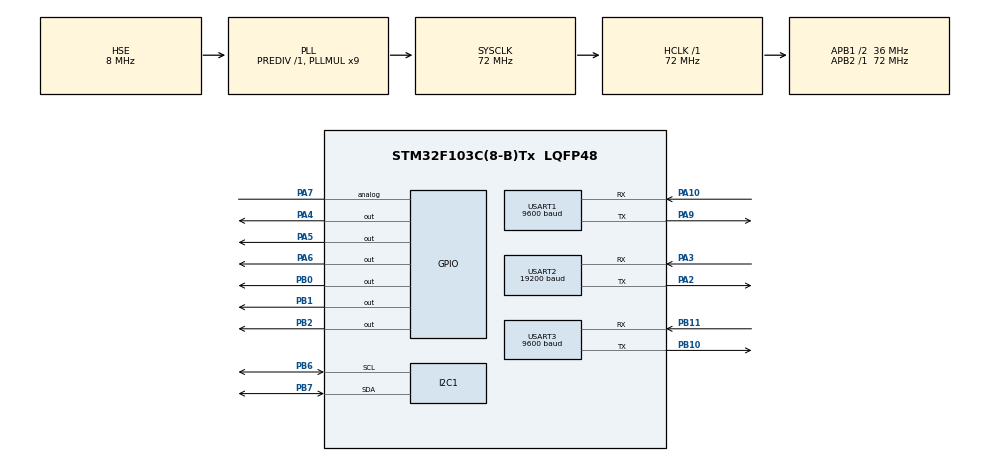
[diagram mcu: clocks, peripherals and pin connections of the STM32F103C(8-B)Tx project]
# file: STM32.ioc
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I2C1.I2C_Mode=I2C_Fast
Mcu.Family=STM32F1
Mcu.Name=STM32F103C(8-B)Tx
Mcu.Package=LQFP48
NVIC.PriorityGroup=NVIC_PRIORITYGROUP_4
NVIC.TIM1_UP_IRQn=true\:1\:0\:true\:false\:true\:true\:true
NVIC.USART1_IRQn=true\:2\:0\:true\:false\:true\:true\:true
NVIC.USART2_IRQn=true\:3\:0\:true\:false\:true\:true\:true
PA10.GPIO_PuPd=GPIO_PULLDOWN
PA10.Mode=Asynchronous
PA10.Signal=USART1_RX
PA13.Mode=Serial_Wire
PA13.Signal=SYS_JTMS-SWDIO
PA14.Mode=Serial_Wire
PA14.Signal=SYS_JTCK-SWCLK
PA2.Mode=Asynchronous
PA2.Signal=USART2_TX
PA3.GPIO_PuPd=GPIO_PULLDOWN
PA3.Mode=Asynchronous
PA3.Signal=USART2_RX
PA4.Signal=GPIO_Output
PA5.Signal=GPIO_Output
PA6.Signal=GPIO_Output
PA7.Signal=GPIO_Analog
PA9.Mode=Asynchronous
PA9.Signal=USART1_TX
PB0.Signal=GPIO_Output
PB1.Signal=GPIO_Output
PB10.Mode=Asynchronous
PB10.Signal=USART3_TX
PB11.GPIO_PuPd=GPIO_PULLDOWN
PB11.Mode=Asynchronous
PB11.Signal=USART3_RX
PB2.Signal=GPIO_Output
PB6.Mode=I2C
PB6.Signal=I2C1_SCL
PB7.Mode=I2C
PB7.Signal=I2C1_SDA
PC14-OSC32_IN.Mode=LSE-External-Oscillator
PC14-OSC32_IN.Signal=RCC_OSC32_IN
PC15-OSC32_OUT.Mode=LSE-External-Oscillator
PC15-OSC32_OUT.Signal=RCC_OSC32_OUT
PD0-OSC_IN.Mode=HSE-External-Oscillator
PD0-OSC_IN.Signal=RCC_OSC_IN
PD1-OSC_OUT.Mode=HSE-External-Oscillator
PD1-OSC_OUT.Signal=RCC_OSC_OUT
ProjectManager.HeapSize=0x200
ProjectManager.StackSize=0x400
ProjectManager.TargetToolchain=MDK-ARM V5.27
RCC.AHBFreq_Value=72000000
RCC.APB1CLKDivider=RCC_HCLK_DIV2
RCC.APB1Freq_Value=36000000
RCC.APB1TimFreq_Value=72000000
RCC.APB2Freq_Value=72000000
RCC.APB2TimFreq_Value=72000000
RCC.HCLKFreq_Value=72000000
RCC.PLLMUL=RCC_PLL_MUL9
RCC.PLLSourceVirtual=RCC_PLLSOURCE_HSE
RCC.SYSCLKFreq_VALUE=72000000
RCC.SYSCLKSource=RCC_SYSCLKSOURCE_PLLCLK
RCC.USBFreq_Value=72000000
TIM1.Period=9999
TIM1.Prescaler=71
USART1.BaudRate=9600
USART1.VirtualMode=VM_ASYNC
USART2.BaudRate=19200
USART2.VirtualMode=VM_ASYNC
USART3.BaudRate=9600
USART3.VirtualMode=VM_ASYNC
VP_TIM1_VS_ClockSourceINT.Mode=Internal
board=custom

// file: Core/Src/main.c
/* USER CODE BEGIN Header */
/**
  ******************************************************************************
  * @file           : main.c
  * @brief          : Main program body
  ******************************************************************************
  * @attention
  *
  * <h2><center>&copy; Copyright (c) 2021 STMicroelectronics.
  * All rights reserved.</center></h2>
  *
  * This software component is licensed by ST under Ultimate Liberty license
  * SLA0044, the "License"; You may not use this file except in compliance with
  * the License. You may obtain a copy of the License at:
  *                             www.st.com/SLA0044
  *
  ******************************************************************************
  */
/* USER CODE END Header */
#include "main.h"
#include "i2c.h"
#include "tim.h"
#include "usart.h"
#include "gpio.h"

/* USER CODE BEGIN PV */

//全局变量
short Degree_Mutex = 1;//角度互斥
float Degree;//横杆角度
short Distance_Mutex = 1;//距离互斥
short Distance;//小球实际距离
short SetDistance_Mutex = 1;//目标距离互斥
short SetDistance;//小球目标距离
char usartScreenSend[50] = {0};//串口屏发送缓冲区
uint8_t usartScreenReceive[10] = {0};//串口屏接收缓冲区
uint8_t usartDistanceReceive[10] = {0};//OpenMV接收缓冲
uint8_t servoID = 1;//舵机ID
uint16_t Position = 0;//目标位置
uint16_t Time = 0;//时间限制

/* USER CODE END PV */

void SystemClock_Config(void);
/* USER CODE BEGIN PFP */
 float yaw, row;
/* USER CODE END PFP */

int main(void)
{

  /* MCU Configuration--------------------------------------------------------*/

  /* Reset of all peripherals, Initializes the Flash interface and the Systick. */
  HAL_Init();

  /* Configure the system clock */
  SystemClock_Config();

  /* Initialize all configured peripherals */
  MX_GPIO_Init();
  MX_I2C1_Init();
  MX_USART1_UART_Init();
  MX_USART2_UART_Init();
  MX_USART3_UART_Init();
  MX_TIM1_Init();
  /* USER CODE BEGIN 2 */
  //mpu_dmp_init();
  HAL_TIM_Base_Start_IT(&htim1);
  HAL_UART_Receive_IT(&huart1, usart1RxBuffer, 1);
  HAL_UART_Receive_IT(&huart2, usart2RxBuffer, 1);
	HAL_Delay(2000);
	int CtlSpeed = 5;
  /* USER CODE END 2 */

  /* Infinite loop */
  /* USER CODE BEGIN WHILE */
	while (1)
	{
//		if(Degree_Mutex){
//		Degree_Mutex = 0;
//		mpu_dmp_get_data(&Degree, &yaw, &row);
//		Degree_Mutex = 1;
//		}
		sendDegree();
//		sendDistance();
		sendSetDistance();
		drawWaves();
		HAL_Delay(CtlSpeed);
		MotorOutput();

    /* USER CODE END WHILE */

	}
}

void SystemClock_Config(void)
{
  RCC_OscInitTypeDef RCC_OscInitStruct = {0};
  RCC_ClkInitTypeDef RCC_ClkInitStruct = {0};

  /** Initializes the RCC Oscillators according to the specified parameters
  * in the RCC_OscInitTypeDef structure.
  */
  RCC_OscInitStruct.OscillatorType = RCC_OSCILLATORTYPE_HSE;
  RCC_OscInitStruct.HSEState = RCC_HSE_ON;
  RCC_OscInitStruct.HSEPredivValue = RCC_HSE_PREDIV_DIV1;
  RCC_OscInitStruct.HSIState = RCC_HSI_ON;
  RCC_OscInitStruct.PLL.PLLState = RCC_PLL_ON;
  RCC_OscInitStruct.PLL.PLLSource = RCC_PLLSOURCE_HSE;
  RCC_OscInitStruct.PLL.PLLMUL = RCC_PLL_MUL9;
  if (HAL_RCC_OscConfig(&RCC_OscInitStruct) != HAL_OK)
  {
    Error_Handler();
  }
  /** Initializes the CPU, AHB and APB buses clocks
  */
  RCC_ClkInitStruct.ClockType = RCC_CLOCKTYPE_HCLK|RCC_CLOCKTYPE_SYSCLK
                              |RCC_CLOCKTYPE_PCLK1|RCC_CLOCKTYPE_PCLK2;
  RCC_ClkInitStruct.SYSCLKSource = RCC_SYSCLKSOURCE_PLLCLK;
  RCC_ClkInitStruct.AHBCLKDivider = RCC_SYSCLK_DIV1;
  RCC_ClkInitStruct.APB1CLKDivider = RCC_HCLK_DIV2;
  RCC_ClkInitStruct.APB2CLKDivider = RCC_HCLK_DIV1;

  if (HAL_RCC_ClockConfig(&RCC_ClkInitStruct, FLASH_LATENCY_2) != HAL_OK)
  {
    Error_Handler();
  }
}

void Error_Handler(void)
{
  __disable_irq();
  while (1)
  {
  }
}

/************************ (C) COPYRIGHT STMicroelectronics *****END OF FILE****/
